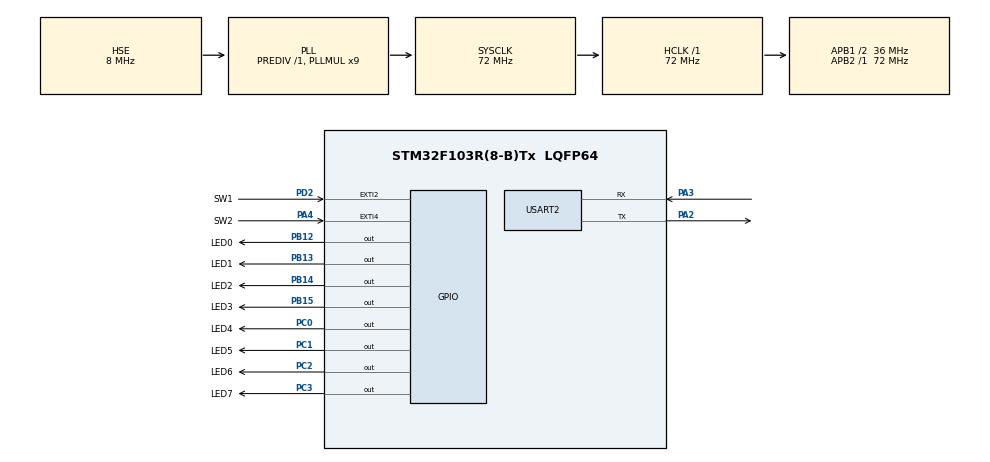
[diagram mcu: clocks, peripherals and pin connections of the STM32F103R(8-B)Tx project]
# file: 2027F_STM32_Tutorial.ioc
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Mcu.Family=STM32F1
Mcu.Name=STM32F103R(8-B)Tx
Mcu.Package=LQFP64
NVIC.EXTI2_IRQn=true\:0\:0\:false\:false\:true\:true\:true\:true
NVIC.EXTI4_IRQn=true\:0\:0\:false\:false\:true\:true\:true\:true
NVIC.PriorityGroup=NVIC_PRIORITYGROUP_4
NVIC.USART2_IRQn=true\:0\:0\:false\:false\:true\:true\:true\:true
PA2.Mode=Asynchronous
PA2.Signal=USART2_TX
PA3.Mode=Asynchronous
PA3.Signal=USART2_RX
PA4.GPIO_Label=SW2
PA4.GPIO_ModeDefaultEXTI=GPIO_MODE_IT_FALLING
PA4.Signal=GPXTI4
PB12.GPIO_Label=LED0
PB12.Signal=GPIO_Output
PB13.GPIO_Label=LED1
PB13.Signal=GPIO_Output
PB14.GPIO_Label=LED2
PB14.Signal=GPIO_Output
PB15.GPIO_Label=LED3
PB15.Signal=GPIO_Output
PC0.GPIO_Label=LED4
PC0.Signal=GPIO_Output
PC1.GPIO_Label=LED5
PC1.Signal=GPIO_Output
PC14-OSC32_IN.Mode=LSE-External-Oscillator
PC14-OSC32_IN.Signal=RCC_OSC32_IN
PC15-OSC32_OUT.Mode=LSE-External-Oscillator
PC15-OSC32_OUT.Signal=RCC_OSC32_OUT
PC2.GPIO_Label=LED6
PC2.Signal=GPIO_Output
PC3.GPIO_Label=LED7
PC3.Signal=GPIO_Output
PD0-OSC_IN.Mode=HSE-External-Clock-Source
PD0-OSC_IN.Signal=RCC_OSC_IN
PD1-OSC_OUT.Mode=HSE-External-Clock-Source
PD1-OSC_OUT.Signal=RCC_OSC_OUT
PD2.GPIO_Label=SW1
PD2.GPIO_ModeDefaultEXTI=GPIO_MODE_IT_FALLING
PD2.Signal=GPXTI2
ProjectManager.HeapSize=0x200
ProjectManager.StackSize=0x400
ProjectManager.TargetToolchain=CMake
RCC.AHBFreq_Value=72000000
RCC.APB1CLKDivider=RCC_HCLK_DIV2
RCC.APB1Freq_Value=36000000
RCC.APB1TimFreq_Value=72000000
RCC.APB2Freq_Value=72000000
RCC.APB2TimFreq_Value=72000000
RCC.HCLKFreq_Value=72000000
RCC.PLLMUL=RCC_PLL_MUL9
RCC.PLLSourceVirtual=RCC_PLLSOURCE_HSE
RCC.SYSCLKFreq_VALUE=72000000
RCC.SYSCLKSource=RCC_SYSCLKSOURCE_PLLCLK
RCC.USBFreq_Value=72000000
USART2.VirtualMode=VM_ASYNC
VP_SYS_VS_ND.Mode=No_Debug
board=custom

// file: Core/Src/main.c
/* USER CODE BEGIN Header */
/**
 ******************************************************************************
 * @file           : main.c
 * @brief          : Main program body
 ******************************************************************************
 * @attention
 *
 * Copyright (c) 2026 STMicroelectronics.
 * All rights reserved.
 *
 * This software is licensed under terms that can be found in the LICENSE file
 * in the root directory of this software component.
 * If no LICENSE file comes with this software, it is provided AS-IS.
 *
 ******************************************************************************
 */
/* USER CODE END Header */
#include "main.h"
#include "stm32f103xb.h"
#include "stm32f1xx_hal.h"
#include "stm32f1xx_hal_uart.h"
#include <stdint.h>

/* USER CODE BEGIN PTD */
typedef struct {
  GPIO_TypeDef *port;
  uint16_t pin;
} Pin_t;
typedef enum { STATE_A, STATE_B, STATE_ON, STATE_OFF } State_t;
/* USER CODE END PTD */

UART_HandleTypeDef huart2;

/* USER CODE BEGIN PV */
Pin_t LEDs[] = {{LED0_GPIO_Port, LED0_Pin}, {LED1_GPIO_Port, LED1_Pin},
                {LED2_GPIO_Port, LED2_Pin}, {LED3_GPIO_Port, LED3_Pin},
                {LED4_GPIO_Port, LED4_Pin}, {LED5_GPIO_Port, LED5_Pin},
                {LED6_GPIO_Port, LED6_Pin}, {LED7_GPIO_Port, LED7_Pin}};
#define LED_CNT 8
State_t state = STATE_B, incoming_state = STATE_B;
int a_curr = 0;
int a_dir = 1;
int b_side = 0;
uint8_t RxBuffer[1];
uint8_t message_1[] = "\r\n\r\n*********************************\r\n";
uint8_t message_2[] = "Ambulance Emergency Light Control\r\n";
uint8_t message_3[] = "*********************************\r\n\r\n";
uint8_t message_4[] = "1. Set to [Ambulance_A] mode\r\n";
uint8_t message_5[] = "2. Set to [Ambulance_B] mode\r\n";
uint8_t message_6[] = "3. Set to [Off] mode\r\n";
uint8_t message_7[] = "4. Set to [On] mode\r\n";
uint8_t message_8[] = "5. Display current mode\r\n\r\n";
uint8_t message_9[] = "Type number : ";
uint8_t message_10[] = "\r\n\r\nNow, [Ambulance_A] mode\r\n";
uint8_t message_11[] = "\r\n\r\nNow, [Ambulance_B] mode\r\n";
uint8_t message_12[] = "\r\n\r\nNow, [Off] mode\r\n";
uint8_t message_13[] = "\r\n\r\nNow, [On] mode\r\n";
uint8_t message_14[] = "\r\n\r\nCurrent mode is [Ambulance_A] mode\r\n";
uint8_t message_15[] = "\r\n\r\nCurrent mode is [Ambulance_B] mode\r\n";
uint8_t message_16[] = "\r\n\r\nCurrent mode is [Off] mode\r\n";
uint8_t message_17[] = "\r\n\r\nCurrent mode is [On] mode\r\n";
/* USER CODE END PV */

void SystemClock_Config(void);
static void MX_GPIO_Init(void);
static void MX_USART2_UART_Init(void);
/* USER CODE BEGIN PFP */
int LED_On(int leds) {
  if (leds < 0 || leds >= (1 << LED_CNT)) {
    return -1;
  }
  for (int i = 0; i < LED_CNT; i++) {
    if (leds & (1 << i)) {
      HAL_GPIO_WritePin(LEDs[i].port, LEDs[i].pin, GPIO_PIN_SET);
    }
  }
  return 0;
};
int LED_Off(int leds) {
  if (leds < 0 || leds >= (1 << LED_CNT)) {
    return -1;
  }
  for (int i = 0; i < LED_CNT; i++) {
    if (leds & (1 << i)) {
      HAL_GPIO_WritePin(LEDs[i].port, LEDs[i].pin, GPIO_PIN_RESET);
    }
  }
  return 0;
};
int LED_Toggle(int leds) {
  if (leds < 0 || leds >= (1 << LED_CNT)) {
    return -1;
  }
  for (int i = 0; i < LED_CNT; i++) {
    if (leds & (1 << i)) {
      HAL_GPIO_TogglePin(LEDs[i].port, LEDs[i].pin);
    }
  }
  return 0;
};
int LED_Set(int leds) {
  if (leds < 0 || leds >= (1 << LED_CNT)) {
    return -1;
  }
  for (int i = 0; i < LED_CNT; i++) {
    if (leds & (1 << i)) {
      HAL_GPIO_WritePin(LEDs[i].port, LEDs[i].pin, GPIO_PIN_SET);
    } else {
      HAL_GPIO_WritePin(LEDs[i].port, LEDs[i].pin, GPIO_PIN_RESET);
    }
  }
  return 0;
}

void display_menu() {
  HAL_UART_Transmit(&huart2, message_1, sizeof(message_1), 100);
  HAL_UART_Transmit(&huart2, message_2, sizeof(message_2), 100);
  HAL_UART_Transmit(&huart2, message_3, sizeof(message_3), 100);
  HAL_UART_Transmit(&huart2, message_4, sizeof(message_4), 100);
  HAL_UART_Transmit(&huart2, message_5, sizeof(message_5), 100);
  HAL_UART_Transmit(&huart2, message_6, sizeof(message_6), 100);
  HAL_UART_Transmit(&huart2, message_7, sizeof(message_7), 100);
  HAL_UART_Transmit(&huart2, message_8, sizeof(message_8), 100);
  HAL_UART_Transmit(&huart2, message_9, sizeof(message_9), 100);
}

void switch_to_a() { LED_Set(1 << a_curr); }
void ambulance_a() {
  LED_Off(1 << a_curr);
  a_curr += a_dir;
  LED_On(1 << a_curr);
  if ((a_curr == LED_CNT - 1 && a_dir == 1) || (a_curr == 0 && a_dir == -1)) {
    a_dir *= -1;
  }
  HAL_Delay(50);
}

void switch_to_b() {
  LED_On(0xF << (4 * b_side));
  LED_Off(0xF << (4 * (1 - b_side)));
}
void ambulance_b() {
  LED_Toggle(0xFF);
  b_side = 1 - b_side;
  HAL_Delay(500);
}

void print_state() {
  switch (state) {
  case STATE_A:
    HAL_UART_Transmit(&huart2, message_14, sizeof(message_14), 100);
    break;
  case STATE_B:
    HAL_UART_Transmit(&huart2, message_15, sizeof(message_15), 100);
    break;
  case STATE_OFF:
    HAL_UART_Transmit(&huart2, message_16, sizeof(message_16), 100);
    break;
  case STATE_ON:
    HAL_UART_Transmit(&huart2, message_17, sizeof(message_17), 100);
    break;
  }
}
/* USER CODE END PFP */

int main(void) {

  /* MCU Configuration--------------------------------------------------------*/

  /* Reset of all peripherals, Initializes the Flash interface and the Systick.
   */
  HAL_Init();

  /* Configure the system clock */
  SystemClock_Config();

  /* Initialize all configured peripherals */
  MX_GPIO_Init();
  MX_USART2_UART_Init();
  /* USER CODE BEGIN 2 */
  switch_to_b();
  HAL_UART_Receive_IT(&huart2, RxBuffer, 1);
  /* USER CODE END 2 */

  /* Infinite loop */
  while (1) {
    if (incoming_state == state) {
      switch (state) {
      case STATE_A:
        ambulance_a();
        break;
      case STATE_B:
        ambulance_b();
        break;
      case STATE_ON:
        LED_On(0xFF);
        HAL_Delay(100);
        break;
      case STATE_OFF:
        LED_Off(0xFF);
        HAL_Delay(100);
        break;
      default:
        return -1;
      }
    } else {
      state = incoming_state;
      switch (state) {
      case STATE_A:
        switch_to_a();
        break;
      case STATE_B:
        switch_to_b();
        break;
      case STATE_ON:
        LED_On(0xFF);
        break;
      case STATE_OFF:
        LED_Off(0xFF);
        break;
      default:
        return -1;
      }
    }
  }
}

void SystemClock_Config(void) {
  RCC_OscInitTypeDef RCC_OscInitStruct = {0};
  RCC_ClkInitTypeDef RCC_ClkInitStruct = {0};

  /** Initializes the RCC Oscillators according to the specified parameters
   * in the RCC_OscInitTypeDef structure.
   */
  RCC_OscInitStruct.OscillatorType = RCC_OSCILLATORTYPE_HSE;
  RCC_OscInitStruct.HSEState = RCC_HSE_BYPASS;
  RCC_OscInitStruct.HSEPredivValue = RCC_HSE_PREDIV_DIV1;
  RCC_OscInitStruct.HSIState = RCC_HSI_ON;
  RCC_OscInitStruct.PLL.PLLState = RCC_PLL_ON;
  RCC_OscInitStruct.PLL.PLLSource = RCC_PLLSOURCE_HSE;
  RCC_OscInitStruct.PLL.PLLMUL = RCC_PLL_MUL9;
  if (HAL_RCC_OscConfig(&RCC_OscInitStruct) != HAL_OK) {
    Error_Handler();
  }

  /** Initializes the CPU, AHB and APB buses clocks
   */
  RCC_ClkInitStruct.ClockType = RCC_CLOCKTYPE_HCLK | RCC_CLOCKTYPE_SYSCLK |
                                RCC_CLOCKTYPE_PCLK1 | RCC_CLOCKTYPE_PCLK2;
  RCC_ClkInitStruct.SYSCLKSource = RCC_SYSCLKSOURCE_PLLCLK;
  RCC_ClkInitStruct.AHBCLKDivider = RCC_SYSCLK_DIV1;
  RCC_ClkInitStruct.APB1CLKDivider = RCC_HCLK_DIV2;
  RCC_ClkInitStruct.APB2CLKDivider = RCC_HCLK_DIV1;

  if (HAL_RCC_ClockConfig(&RCC_ClkInitStruct, FLASH_LATENCY_2) != HAL_OK) {
    Error_Handler();
  }
}

static void MX_USART2_UART_Init(void) {

  huart2.Instance = USART2;
  huart2.Init.BaudRate = 115200;
  huart2.Init.WordLength = UART_WORDLENGTH_8B;
  huart2.Init.StopBits = UART_STOPBITS_1;
  huart2.Init.Parity = UART_PARITY_NONE;
  huart2.Init.Mode = UART_MODE_TX_RX;
  huart2.Init.HwFlowCtl = UART_HWCONTROL_NONE;
  huart2.Init.OverSampling = UART_OVERSAMPLING_16;
  if (HAL_UART_Init(&huart2) != HAL_OK) {
    Error_Handler();
  }
}

static void MX_GPIO_Init(void) {
  GPIO_InitTypeDef GPIO_InitStruct = {0};

  /* GPIO Ports Clock Enable */
  __HAL_RCC_GPIOC_CLK_ENABLE();
  __HAL_RCC_GPIOD_CLK_ENABLE();
  __HAL_RCC_GPIOA_CLK_ENABLE();
  __HAL_RCC_GPIOB_CLK_ENABLE();

  /*Configure GPIO pin Output Level */
  HAL_GPIO_WritePin(GPIOC, LED4_Pin | LED5_Pin | LED6_Pin | LED7_Pin,
                    GPIO_PIN_RESET);

  /*Configure GPIO pin Output Level */
  HAL_GPIO_WritePin(GPIOB, LED0_Pin | LED1_Pin | LED2_Pin | LED3_Pin,
                    GPIO_PIN_RESET);

  /*Configure GPIO pins : LED4_Pin LED5_Pin LED6_Pin LED7_Pin */
  GPIO_InitStruct.Pin = LED4_Pin | LED5_Pin | LED6_Pin | LED7_Pin;
  GPIO_InitStruct.Mode = GPIO_MODE_OUTPUT_PP;
  GPIO_InitStruct.Pull = GPIO_NOPULL;
  GPIO_InitStruct.Speed = GPIO_SPEED_FREQ_LOW;
  HAL_GPIO_Init(GPIOC, &GPIO_InitStruct);

  /*Configure GPIO pin : SW2_Pin */
  GPIO_InitStruct.Pin = SW2_Pin;
  GPIO_InitStruct.Mode = GPIO_MODE_IT_FALLING;
  GPIO_InitStruct.Pull = GPIO_NOPULL;
  HAL_GPIO_Init(SW2_GPIO_Port, &GPIO_InitStruct);

  /*Configure GPIO pins : LED0_Pin LED1_Pin LED2_Pin LED3_Pin */
  GPIO_InitStruct.Pin = LED0_Pin | LED1_Pin | LED2_Pin | LED3_Pin;
  GPIO_InitStruct.Mode = GPIO_MODE_OUTPUT_PP;
  GPIO_InitStruct.Pull = GPIO_NOPULL;
  GPIO_InitStruct.Speed = GPIO_SPEED_FREQ_LOW;
  HAL_GPIO_Init(GPIOB, &GPIO_InitStruct);

  /*Configure GPIO pin : SW1_Pin */
  GPIO_InitStruct.Pin = SW1_Pin;
  GPIO_InitStruct.Mode = GPIO_MODE_IT_FALLING;
  GPIO_InitStruct.Pull = GPIO_NOPULL;
  HAL_GPIO_Init(SW1_GPIO_Port, &GPIO_InitStruct);

  /* EXTI interrupt init*/
  HAL_NVIC_SetPriority(EXTI2_IRQn, 0, 0);
  HAL_NVIC_EnableIRQ(EXTI2_IRQn);

  HAL_NVIC_SetPriority(EXTI4_IRQn, 0, 0);
  HAL_NVIC_EnableIRQ(EXTI4_IRQn);

}

/* USER CODE BEGIN 4 */
void HAL_GPIO_EXTI_Callback(uint16_t GPIO_Pin) {
  switch (GPIO_Pin) {
  case SW1_Pin:
    switch (state) {
    case STATE_A:
      incoming_state = STATE_B;
      break;
    case STATE_B:
      incoming_state = STATE_A;
      break;
    default:
      break;
    }
    break;
  }
}
void HAL_UART_RxCpltCallback(UART_HandleTypeDef *huart) {
  switch (RxBuffer[0]) {
  case '1':
    HAL_UART_Transmit(huart, RxBuffer, 1, 100);
    HAL_UART_Transmit(huart, message_10, sizeof(message_10), 100);
    incoming_state = STATE_A;
    break;
  case '2':
    HAL_UART_Transmit(huart, RxBuffer, 1, 100);
    HAL_UART_Transmit(huart, message_11, sizeof(message_11), 100);
    incoming_state = STATE_B;
    break;
  case '3':
    HAL_UART_Transmit(huart, RxBuffer, 1, 100);
    HAL_UART_Transmit(huart, message_12, sizeof(message_12), 100);
    incoming_state = STATE_OFF;
    break;
  case '4':
    HAL_UART_Transmit(huart, RxBuffer, 1, 100);
    HAL_UART_Transmit(huart, message_13, sizeof(message_13), 100);
    incoming_state = STATE_ON;
    break;
  case '5':
    HAL_UART_Transmit(huart, RxBuffer, 1, 100);
    print_state();
    break;
  }
  display_menu();
  HAL_UART_Receive_IT(huart, RxBuffer, 1);
}
/* USER CODE END 4 */

void Error_Handler(void) {
  __disable_irq();
  while (1) {
  }
}
#ifdef USE_FULL_ASSERT
/**
 * @brief  Reports the name of the source file and the source line number
 *         where the assert_param error has occurred.
 * @param  file: pointer to the source file name
 * @param  line: assert_param error line source number
 * @retval None
 */
void assert_failed(uint8_t *file, uint32_t line) {
  /* USER CODE BEGIN 6 */
  /* User can add his own implementation to report the file name and line
     number, ex: printf("Wrong parameters value: file %s on line %d\r\n", file,
     line) */
  /* USER CODE END 6 */
}
#endif /* USE_FULL_ASSERT */
